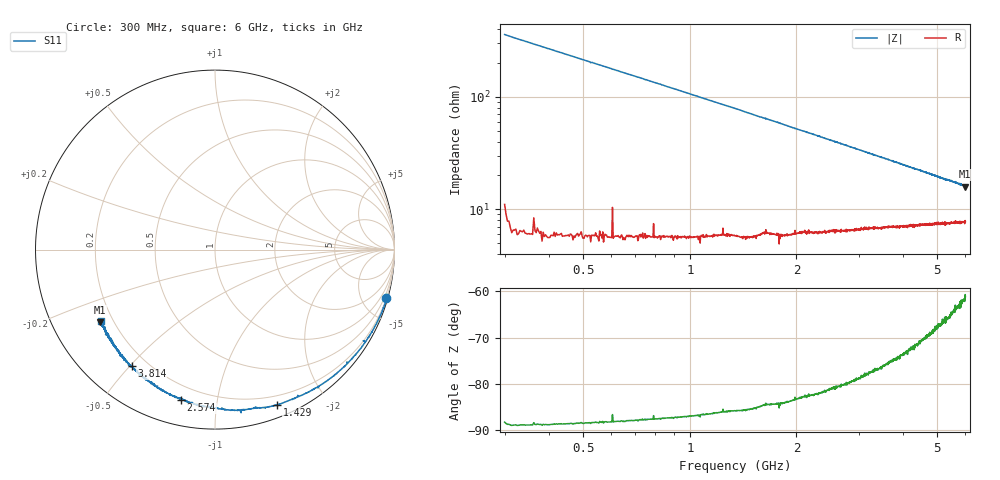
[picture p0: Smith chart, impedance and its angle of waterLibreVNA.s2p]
! R140 Conversion
! Date: 2025-10-23 16:17:16
! Start: 300.00MHz  Stop: 6.00GHz  Points: 2001
! S-Parameter data: F S11 e
# Hz S RI R 50
!  Frequency  S11_Real  S11_Imag  Perm_Real  Perm_Imag  Dummy1  Dummy2  Dummy3  Dummy4
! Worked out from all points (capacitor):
!   2001 points, 300 MHz to 6 GHz, reference 50 ohm
!   read as one part to ground: C = 1.48 pF near 328.5 MHz
!   lowest |Z| = 15.9 ohm at 5.971 GHz (marker M1)
!   S11 on the Smith chart (normalised r, x): 300 MHz: 0.22, -7.20; 1.429 GHz: 0.11, -1.47; 2.574 GHz: 0.12, -0.79; 3.814 GHz: 0.14, -0.51; 6 GHz: 0.16, -0.28
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3e8  0.9543 -0.2699  0 0  0 0  0 0
3.969e8  0.9269 -0.3551  0 0  0 0  0 0
5.2515e8  0.874 -0.4612  0 0  0 0  0 0
6.591e8  0.8112 -0.5512  0 0  0 0  0 0
7.8735e8  0.7414 -0.6304  0 0  0 0  0 0
1.041e9  0.5884 -0.7551  0 0  0 0  0 0
1.2519e9  0.4559 -0.8233  0 0  0 0  0 0
1.4286e9  0.3478 -0.8644  0 0  0 0  0 0
1.5882e9  0.2502 -0.8821  0 0  0 0  0 0
1.81335e9  0.129 -0.8942  0 0  0 0  0 0
2.00145e9  0.0334 -0.8893  0 0  0 0  0 0
2.20095e9  -0.052 -0.8749  0 0  0 0  0 0
2.5743e9  -0.1894 -0.8387  0 0  0 0  0 0
2.8821e9  -0.2829 -0.7904  0 0  0 0  0 0
3.15e9  -0.3469 -0.7488  0 0  0 0  0 0
3.42645e9  -0.4039 -0.7082  0 0  0 0  0 0
3.81405e9  -0.465 -0.6504  0 0  0 0  0 0
4.1019e9  -0.5 -0.6114  0 0  0 0  0 0
4.3128e9  -0.5268 -0.5861  0 0  0 0  0 0
5.05095e9  -0.5884 -0.4939  0 0  0 0  0 0
5.9715e9  -0.6426 -0.4027  0 0  0 0  0 0
6e9  -0.6342 -0.3984  0 0  0 0  0 0
